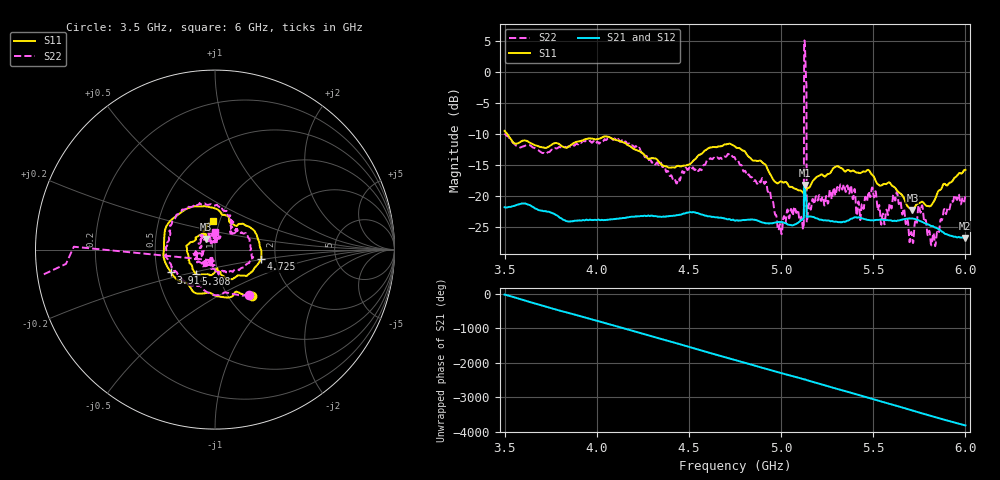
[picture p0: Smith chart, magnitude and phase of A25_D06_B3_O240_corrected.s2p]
! Created with skrf 1.9.0 (http://scikit-rf.org).
# Hz S RI R 50.0
!freq ReS11 ImS11 ReS21 ImS21 ReS12 ImS12 ReS22 ImS22
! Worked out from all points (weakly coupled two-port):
!   1601 points, 3.5 GHz to 6 GHz, reference 50 ohm
!   highest |S21| = -18.27 dB at 5.128 GHz (marker M1); lowest = -26.8 dB at 5.998 GHz (marker M2)
!   lowest |S11| = -22.3 dB at 5.713 GHz (marker M3), VSWR 1.17, Z = 45 + j5.32 ohm
!   |S11| at or under -10 dB: 3.512 GHz to end of sweep
!   |S22| runs from -28.2 to 5.0 dB; largest |S21 - S12| = 0.001
!   S11 on the Smith chart (normalised r, x): 3.5 GHz: 1.27, -0.75; 3.914 GHz: 0.59, -0.16; 4.725 GHz: 1.67, -0.19; 5.308 GHz: 0.78, -0.22; 6 GHz: 0.93, +0.31
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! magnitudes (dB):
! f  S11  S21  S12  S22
! 3.5 GHz  -9.6  -21.9  -21.8  -10.0
! 3.914 GHz  -11.2  -24.0  -24.0  -11.5
! 3.917 GHz  -11.2  -24.0  -24.0  -11.4
! 4.334 GHz  -14.5  -23.4  -23.3  -15.0
! 4.428 GHz  -15.4  -23.2  -23.2  -17.7
! 4.725 GHz  -11.7  -23.9  -23.8  -13.4
! 4.75 GHz  -12.1  -24.1  -24.0  -13.9
! 4.909 GHz  -14.9  -24.4  -24.3  -18.1
! 4.995 GHz  -17.7  -24.2  -24.2  -24.6
! 5.111 GHz  -19.3  -23.9  -23.9  -23.5
! 5.128 GHz  -19.4  -18.3  -18.3  4.9
! 5.138 GHz  -19.0  -20.8  -20.7  -2.1
! 5.152 GHz  -18.7  -23.4  -23.4  -21.3
! 5.167 GHz  -17.9  -23.4  -23.3  -21.0
! 5.308 GHz  -15.3  -24.3  -24.2  -18.7
! 5.584 GHz  -17.9  -24.0  -23.9  -22.4
! 5.636 GHz  -19.4  -24.0  -23.9  -20.8
! 5.713 GHz  -22.3  -23.7  -23.6  -27.0
! 5.755 GHz  -21.1  -24.1  -24.1  -22.6
! 5.827 GHz  -21.1  -25.0  -25.0  -26.0
! 5.998 GHz  -15.8  -26.8  -26.7  -20.2
! 6 GHz  -15.8  -26.8  -26.7  -19.9
